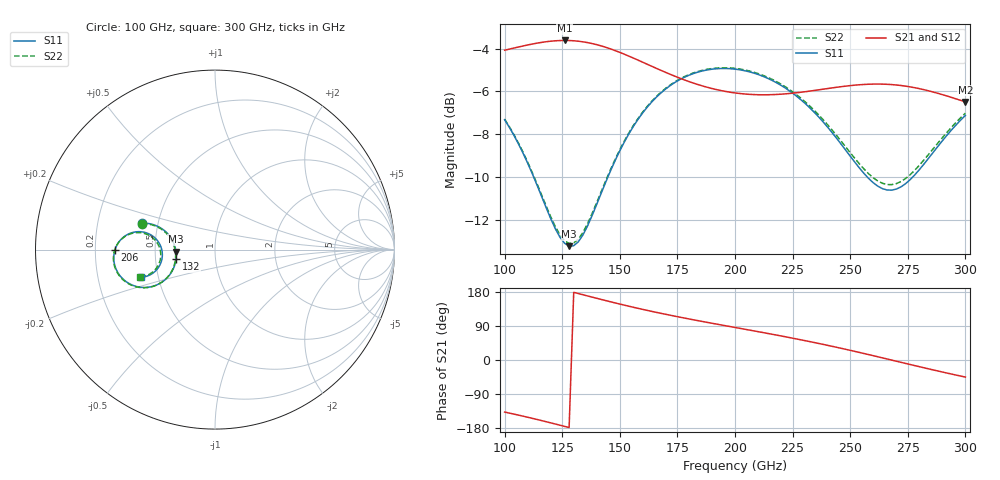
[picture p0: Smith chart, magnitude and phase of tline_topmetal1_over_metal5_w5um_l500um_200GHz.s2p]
#  GHZ S DB R 50
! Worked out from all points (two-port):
!   101 points, 100 GHz to 300 GHz, reference 50 ohm
!   highest |S21| = -3.62 dB at 126 GHz (marker M1); lowest = -6.5 dB at 300 GHz (marker M2)
!   |S21| within 3 dB of the highest: start of sweep to end of sweep
!   lowest |S11| = -13.2 dB at 128 GHz (marker M3), VSWR 1.56, Z = 32.1 - j0.728 ohm
!   |S11| at or under -10 dB: 112.6 GHz to 144.9 GHz (32.28 GHz wide, 25.1 % of centre); 257.4 GHz to 277.2 GHz (19.83 GHz wide, 7.42 % of centre)
!   |S22| runs from -13.1 to -4.9 dB; largest |S21 - S12| = 7.3e-14
!   S11 on the Smith chart (normalised r, x): 100 GHz: 0.41, +0.15; 132 GHz: 0.64, -0.07; 206 GHz: 0.28, -0.00; 300 GHz: 0.40, -0.15
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100  -7.33 160.0  -4.08 -137.4  -4.08 -137.4  -7.30 160.5
112  -9.85 158.4  -3.79 -153.9  -3.79 -153.9  -9.80 159.0
122  -12.42 168.8  -3.64 -168.9  -3.64 -168.9  -12.32 169.3
126  -13.10 177.7  -3.62 -175.2  -3.62 -175.2  -12.98 178.1
128  -13.24 -177.2  -3.63 -178.3  -3.63 -178.3  -13.11 -176.8
132  -13.03 -166.8  -3.66 175.4  -3.66 175.4  -12.91 -166.7
134  -12.72 -162.2  -3.69 172.2  -3.69 172.2  -12.60 -162.1
142  -10.74 -150.8  -3.88 159.7  -3.88 159.7  -10.67 -150.8
152  -8.36 -148.8  -4.27 144.7  -4.27 144.7  -8.32 -148.8
160  -7.00 -151.8  -4.64 133.5  -4.64 133.5  -6.96 -151.7
168  -6.06 -156.3  -5.03 123.0  -5.03 123.0  -6.03 -156.2
184  -5.10 -166.5  -5.69 103.7  -5.69 103.7  -5.07 -166.2
200  -4.96 -176.5  -6.08 85.9  -6.08 85.9  -4.93 -176.0
206  -5.08 -180.0  -6.14 79.3  -6.14 79.3  -5.04 -179.5
222  -5.86 171.7  -6.12 61.1  -6.12 61.1  -5.80 172.3
234  -6.94 167.3  -5.97 46.6  -5.97 46.6  -6.85 168.1
244  -8.18 166.3  -5.81 33.7  -5.81 33.7  -8.05 167.2
254  -9.58 170.0  -5.69 19.9  -5.69 19.9  -9.39 170.9
262  -10.44 177.5  -5.66 8.5  -5.66 8.5  -10.19 178.0
268  -10.62 -175.1  -5.69 -0.2  -5.69 -0.2  -10.36 -175.0
282  -9.40 -161.4  -5.92 -20.5  -5.92 -20.5  -9.21 -162.0
300  -7.13 -159.5  -6.50 -45.1  -6.50 -45.1  -7.02 -160.1
